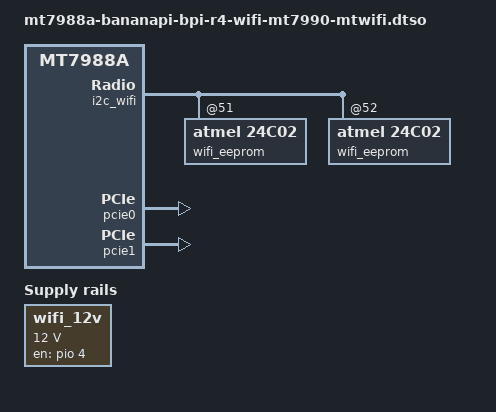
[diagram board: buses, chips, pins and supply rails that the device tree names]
// SPDX-License-Identifier: (GPL-2.0 OR MIT)
/*
 * Device tree overlay for BananaPi BPI-R4 with BE14 (MT7996/MT7990)
 * WiFi module, used with the MediaTek proprietary (mtwifi/mt_wifi7)
 * driver.
 *
 * Unlike the mt76 based overlay, the proprietary driver matches the
 * device purely by PCI vendor/device ID (0x14c3:0x7990), so no
 * "compatible" node is required. This overlay only needs to:
 *   1. enable the I2C mux channel carrying the WiFi MAC EEPROMs
 *   2. provide the 12V rail feeding the WiFi module
 *   3. expose the per-band MAC addresses
 */

/dts-v1/;
/plugin/;

#include <dt-bindings/gpio/gpio.h>

/ {
	compatible = "bananapi,bpi-r4", "mediatek,mt7988a";

	fragment@0 {
		target-path = "/";
		__overlay__ {
			wifi_12v: regulator-wifi-12v {
				compatible = "regulator-fixed";
				regulator-name = "wifi";
				regulator-min-microvolt = <12000000>;
				regulator-max-microvolt = <12000000>;
				gpios = <&pio 4 GPIO_ACTIVE_HIGH>;
				enable-active-high;
				regulator-always-on;
			};
		};
	};

	fragment@1 {
		target = <&i2c_wifi>;
		__overlay__ {
			status = "okay";

			// 5G WIFI MAC Address EEPROM
			wifi_eeprom@51 {
				compatible = "atmel,24c02";
				reg = <0x51>;
				address-bits = <8>;
				page-size = <8>;
				size = <256>;

				nvmem-layout {
					compatible = "fixed-layout";
					#address-cells = <1>;
					#size-cells = <1>;

					macaddr_5g: macaddr@0 {
						reg = <0x0 0x6>;
					};
				};
			};

			// 6G WIFI MAC Address EEPROM
			wifi_eeprom@52 {
				compatible = "atmel,24c02";
				reg = <0x52>;
				address-bits = <8>;
				page-size = <8>;
				size = <256>;

				nvmem-layout {
					compatible = "fixed-layout";
					#address-cells = <1>;
					#size-cells = <1>;

					macaddr_6g: macaddr@0 {
						reg = <0x0 0x6>;
					};
				};
			};
		};
	};

	/*
	 * The proprietary driver does not consume DT child nodes, but
	 * keeping the PCIe endpoints described documents which slot the
	 * BE14 module occupies and lets the MAC addresses be resolved.
	 */
	fragment@2 {
		target = <&pcie0>;
		__overlay__ {
			status = "okay";
		};
	};

	fragment@3 {
		target = <&pcie1>;
		__overlay__ {
			status = "okay";
		};
	};
};
